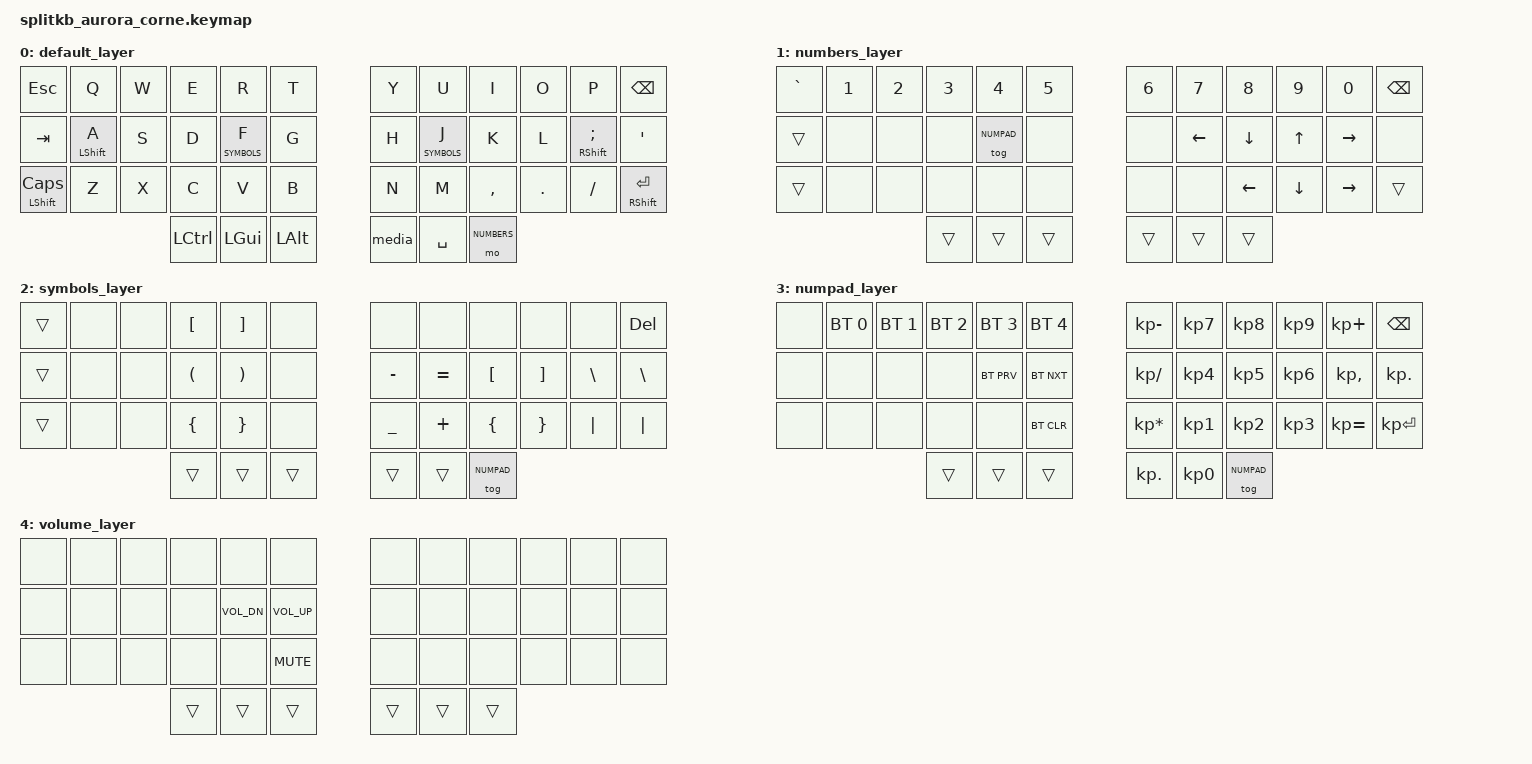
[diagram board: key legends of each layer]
/*
 * Copyright (c) 2020 The ZMK Contributors
 *
 * SPDX-License-Identifier: MIT
 */

#include <behaviors.dtsi>
#include <dt-bindings/zmk/keys.h>
#include <dt-bindings/zmk/bt.h>

#define DEFAULT 0
#define NUMBERS 1
#define SYMBOLS 2
#define NUMPAD  3
#define VOLUME  3

/ {
        behaviors {
                media: media_tap_dance {
                        compatible = "zmk,behavior-tap-dance";
                        #binding-cells = <0>;
                        tapping-term-ms = <200>;
                        bindings = <&lt VOLUME C_PLAY_PAUSE>, <&mt C_FF C_NEXT>, <&mt C_RW C_PREVIOUS>;
                };
                bhm: balanced_homerow_mods {
                        compatible = "zmk,behavior-hold-tap";
                        #binding-cells = <2>;
                        tapping-term-ms = <200>;    // <---[[moderate duration]]
                        quick-tap-ms = <0>;
                        flavor = "balanced";
                        bindings = <&kp>, <&kp>;
                };
        };
        combos {
                compatible = "zmk,combos";
                combo_lock {
                        timeout-ms = <50>;
                        key-positions = <5 6>;
                        bindings = <&kp LC(LG(Q))>;
                };
        };

        keymap {
                compatible = "zmk,keymap";

                default_layer {
// -----------------------------------------------------------------------------------------
// |     ESC     |      Q     |  W  |  E   |       R       |  T  |  ||  |   Y   |        U       |    I    |  O  |      P     |     BSPC      |
// |     TAB     |  SHFT / A  |  S  |  D   |  Symbols / F  |  G  |  ||  |   H   |  Symbols / J   |    K    |  L  |  SHFT / ;  |       '       |
// | SHFT / CAPS |      Z     |  X  |  C   |       V       |  B  |  ||  |   N   |        M       |    ,    |  .  |      /     | SHFT / ENTER  |
//                                  | CTRL |      GUI      | ALT |  ||  | Media |       SPC      | Numbers |
                        bindings = <
   &kp ESC          &kp Q          &kp W  &kp E      &kp R          &kp T         &kp Y  &kp U          &kp I       &kp O    &kp P             &kp BSPC
   &kp TAB          &bhm LSHIFT A  &kp S  &kp D      &lt SYMBOLS F  &kp G         &kp H  &lt SYMBOLS J  &kp K       &kp L    &bhm RSHIFT SEMI  &kp SQT
   &mt LSHIFT CAPS  &kp Z          &kp X  &kp C      &kp V          &kp B         &kp N  &kp M          &kp COMMA   &kp DOT  &kp FSLH          &mt RSHIFT ENTER
                                         &kp LCTRL  &kp LGUI       &kp LALT      &media &kp SPACE      &mo NUMBERS
                        >;
                };
                numbers_layer {
// -----------------------------------------------------------------------------------------
// |  `  |  1  |  2  |  3  |    4   |  5  |  ||  |  6  |  7  |  8  |  9  |  0  | BSPC |
// | vvv |     |     |     | Numpad |     |  ||  |     | LFT | DWN |  UP | RGT |      |
// | vvv |     |     |     |        |     |  ||  |     |     | LFT | DWN | RGT |  vvv |
//                   | vvv |   vvv  | vvv |  ||  | vvv | vvv | vvv |
                        bindings = <
   &kp GRAVE  &kp N1  &kp N2  &kp N3  &kp N4       &kp N5      &kp N6  &kp N7    &kp N8    &kp N9    &kp N0     &kp BSPC
   &trans     &none   &none   &none   &tog NUMPAD  &none       &none   &kp LEFT  &kp DOWN  &kp UP    &kp RIGHT  &none
   &trans     &none   &none   &none   &none        &none       &none   &none     &kp LEFT  &kp DOWN  &kp RIGHT  &trans
                              &trans  &trans       &trans      &trans  &trans    &trans
                        >;
                };

                symbols_layer {
// -----------------------------------------------------------------------------------------
// | vvv |     |     |  [   |  ]   |     |  ||  |     |     |        |     |     | DEL |
// | vvv |     |     |  (   |  )   |     |  ||  |  -  |  =  |    [   |  ]  |  \  |  \  |
// | vvv |     |     |  {   |  }   |     |  ||  |  _  |  +  |    {   |  }  | "|" | "|" |
//                   | vvv  | vvv  | vvv |  ||  | vvv | vvv | Numpad |
                        bindings = <
   &trans  &none  &none  &kp LBKT  &kp RBKT  &none       &none      &none      &none        &none     &none     &kp DEL
   &trans  &none  &none  &kp LPAR  &kp RPAR  &none       &kp MINUS  &kp EQUAL  &kp LBKT     &kp RBKT  &kp BSLH  &kp BSLH
   &trans  &none  &none  &kp LBRC  &kp RBRC  &none       &kp UNDER  &kp PLUS   &kp LBRC     &kp RBRC  &kp PIPE  &kp PIPE
                         &trans    &trans    &trans      &trans     &trans     &tog NUMPAD
                        >;
                };

                numpad_layer {
// -----------------------------------------------------------------------------------------
// |     | BT0 | BT1 | BT2 |     BT3     |   BT4   |  ||  |  -  |  7  |   8    |  9  |  +  | BSPC  |
// |     |     |     |     | BT Previous | BT Next |  ||  |  \  |  4  |   5    |  6  |  ,  |   .   |
// |     |     |     |     |             |         |  ||  |  *  |  1  |   2    |  3  |  =  | ENTER |
//                   | vvv |     vvv     |   vvv   |  ||  |  .  |  0  | Numpad |
                        bindings = <
   &none  &bt BT_SEL 0  &bt BT_SEL 1  &bt BT_SEL 2  &bt BT_SEL 3 &bt BT_SEL 4      &kp KP_MINUS     &kp KP_N7  &kp KP_N8    &kp KP_N9  &kp KP_PLUS   &kp BSPC
   &none  &none         &none         &none         &bt BT_PRV   &bt BT_NXT        &kp KP_DIVIDE    &kp KP_N4  &kp KP_N5    &kp KP_N6  &kp KP_COMMA  &kp KP_DOT
   &none  &none         &none         &none         &none        &bt BT_CLR        &kp KP_MULTIPLY  &kp KP_N1  &kp KP_N2    &kp KP_N3  &kp KP_EQUAL  &kp KP_ENTER
                                      &trans        &trans       &trans            &kp KP_DOT       &kp KP_N0  &tog NUMPAD
                        >;
                };

                volume_layer {
// -----------------------------------------------------------------------------------------
// |     |     |     |     |          |        |  ||  |     |     |     |     |     |     |
// |     |     |     |     | VOL DOWN | VOL UP |  ||  |     |     |     |     |     |     |
// |     |     |     |     |          |  MUTE  |  ||  |     |     |     |     |     |     |
//                   | vvv |   vvv    |   vvv  |  ||  | vvv | vvv | vvv |
                        bindings = <
   &none  &none  &none  &none   &none         &none             &none   &none   &none  &none  &none  &none
   &none  &none  &none  &none   &kp C_VOL_DN  &kp C_VOL_UP      &none   &none   &none  &none  &none  &none
   &none  &none  &none  &none   &none         &kp C_MUTE        &none   &none   &none  &none  &none  &none
                        &trans  &trans        &trans            &trans  &trans  &trans
                        >;
                };
        };
};
